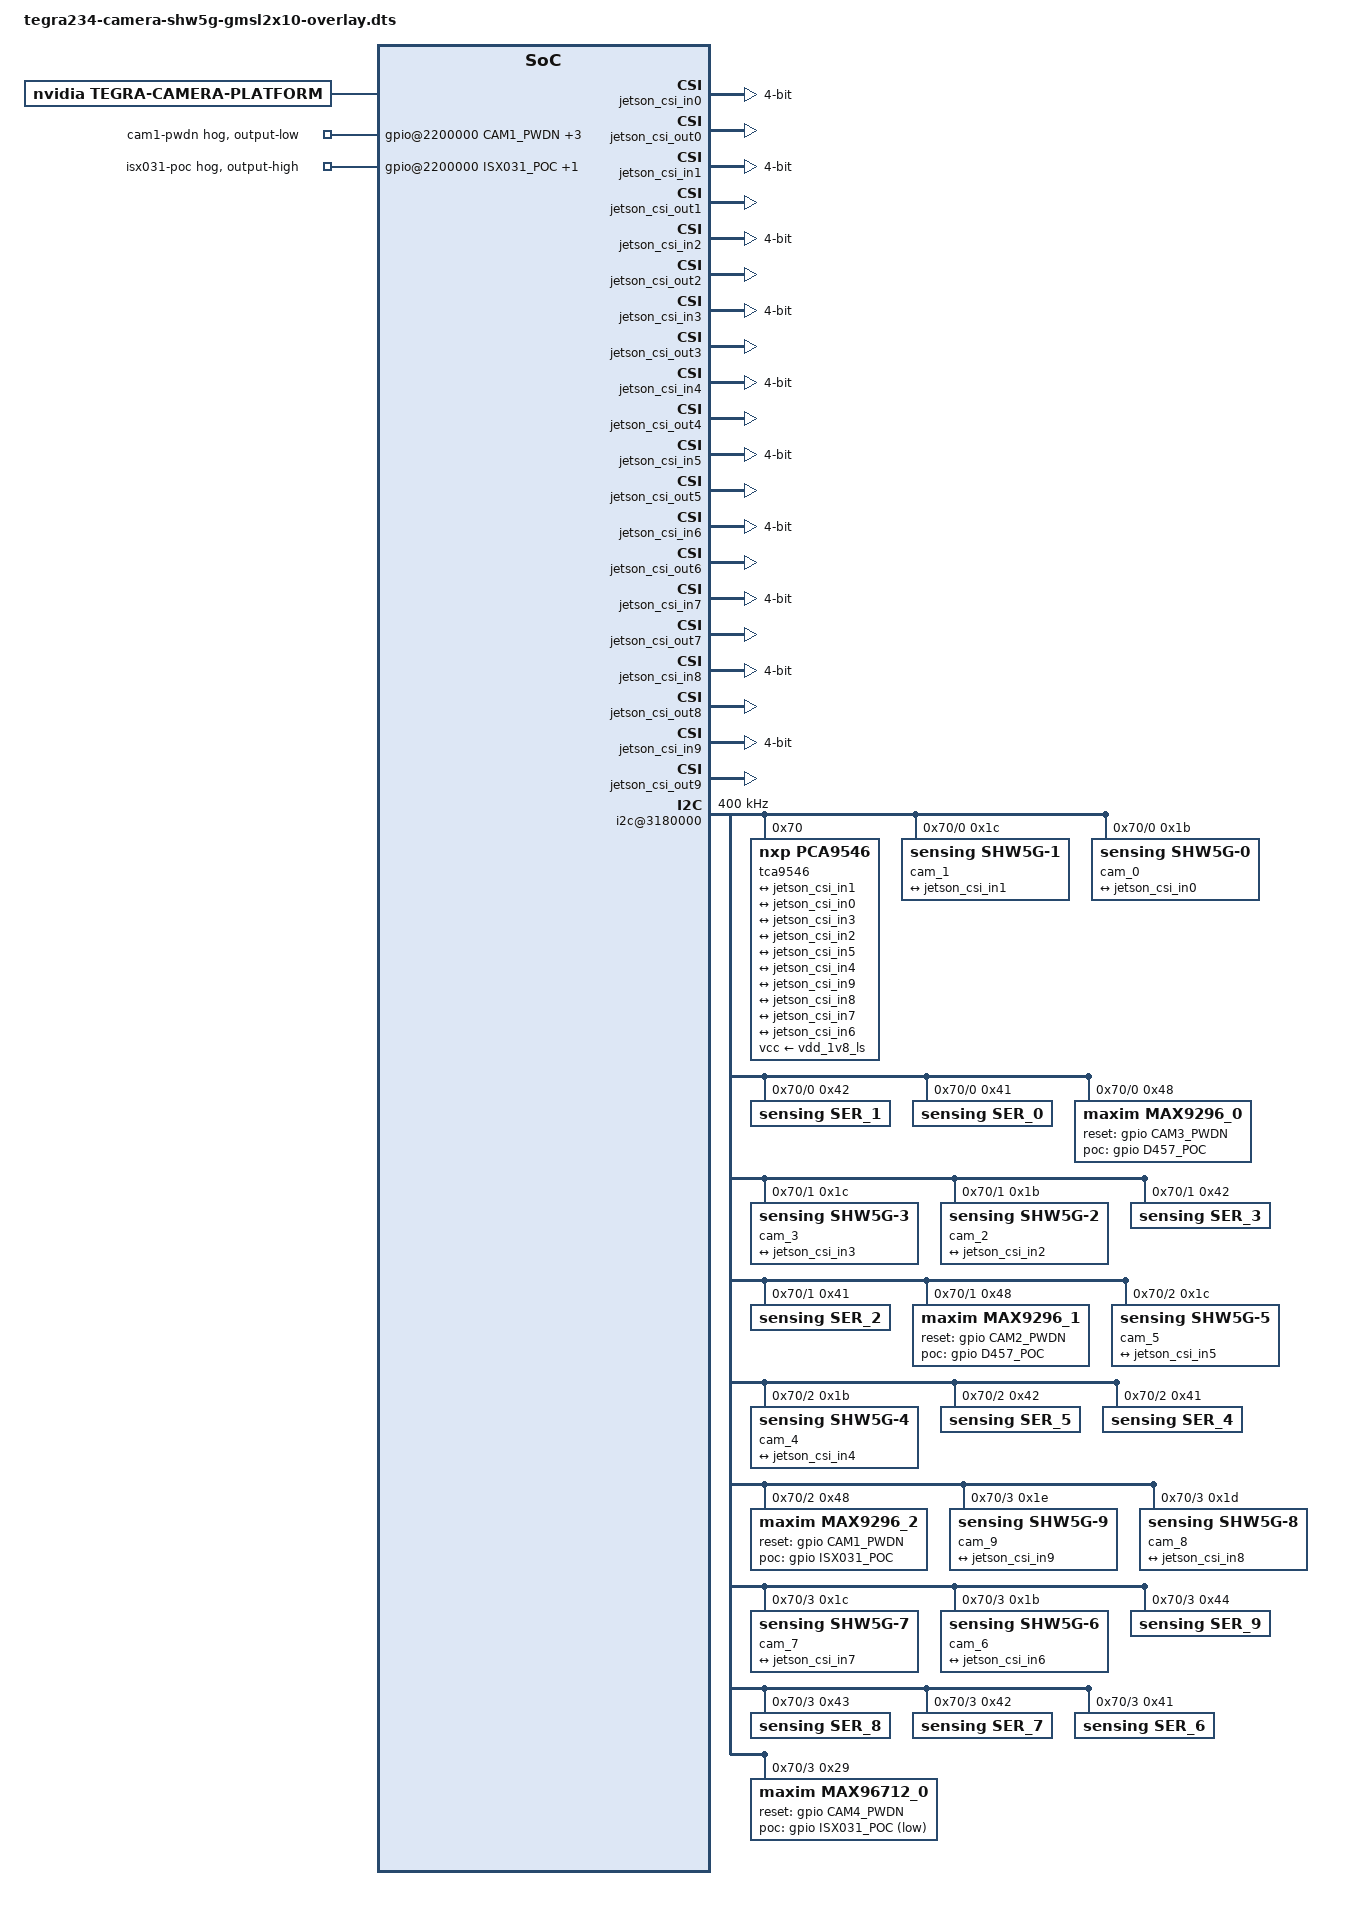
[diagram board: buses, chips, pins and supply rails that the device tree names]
// SPDX-License-Identifier: GPL-2.0-only
// SPDX-FileCopyrightText: Copyright (c) 2024-2024, ORBBEC CORPORATION.  All rights reserved.

/dts-v1/;
/plugin/;

#include <dt-bindings/clock/tegra234-clock.h>
#include <dt-bindings/gpio/tegra234-gpio.h>
#include <dt-bindings/tegra234-p3737-0000+p3701-0000.h>
#include <dt-bindings/pinctrl/pinctrl-tegra.h>

#define CAM1_PWDN	TEGRA234_MAIN_GPIO(H, 6)
#define CAM2_PWDN	TEGRA234_MAIN_GPIO(H, 3)
#define CAM3_PWDN	TEGRA234_MAIN_GPIO(AC, 0)
#define CAM4_PWDN	TEGRA234_MAIN_GPIO(AC, 1)

#define ISX031_POC	TEGRA234_MAIN_GPIO(AC, 4)
#define D457_POC	TEGRA234_MAIN_GPIO(AC, 7)

// #define SYNC_OUT   TEGRA234_MAIN_GPIO(AC, 7)//(AC, 7)
// #define SYNC_IN    TEGRA234_AON_GPIO(BB, 0) //(BB, 0)

#define PPS_TRIGGER  TEGRA234_AON_GPIO(BB, 2)//(BB, 2)

#define CAMERA_I2C_MUX_BUS(x) (0x1E + x)

/* camera control gpio definitions */
/ {
	overlay-name = "Jetson Sensing Camera SHW5G GMSL2x10";
    jetson-header-name = "Jetson AGX CSI Connector";
    compatible = JETSON_COMPATIBLE;
	
	fragment@0 {
		target-path = "/";
		__overlay__ {
			tegra-capture-vi {
				num-channels = <10>;
				ports {
					status = "okay";
					#address-cells = <1>;
					#size-cells = <0>;
					port@0 {
						reg = <0>;
						status = "okay";
						jetson_vi_in0: endpoint {
							status = "okay";
							vc-id = <0>;
							port-index = <4>; //0
							bus-width = <4>;
							remote-endpoint = <&jetson_csi_out0>;
						};
					};
					port@1 {
						reg = <1>;
						status = "okay";
						jetson_vi_in1: endpoint {
							status = "okay";
							vc-id = <1>;
							port-index = <4>; //0
							bus-width = <4>;
							remote-endpoint = <&jetson_csi_out1>;
						};
					};
					port@2 {
						reg = <2>;
						status = "okay";
						jetson_vi_in2: endpoint {
							status = "okay";
							vc-id = <0>;
							port-index = <2>; //0
							bus-width = <4>;
							remote-endpoint = <&jetson_csi_out2>;
						};
					};
					port@3 {
						reg = <3>;
						status = "okay";
						jetson_vi_in3: endpoint {
							status = "okay";
							vc-id = <1>;
							port-index = <2>; //0
							bus-width = <4>;
							remote-endpoint = <&jetson_csi_out3>;
						};
					};

					port@4 {
						reg = <4>;
						status = "okay";
						jetson_vi_in4: endpoint {
							status = "okay";
							vc-id = <0>;
							port-index = <0>; //1
							bus-width = <4>;
							remote-endpoint = <&jetson_csi_out4>;
						};
					};
					port@5 {
						reg = <5>;
						status = "okay";
						jetson_vi_in5: endpoint {
							status = "okay";
							vc-id = <1>;
							port-index = <0>; //1
							bus-width = <4>;
							remote-endpoint = <&jetson_csi_out5>;
						};
					};
					port@6 {
						reg = <6>;
						status = "okay";
						jetson_vi_in6: endpoint {
							status = "okay";
							vc-id = <0>;
							port-index = <5>; //1
							bus-width = <4>;
							remote-endpoint = <&jetson_csi_out6>;
						};
					};
					port@7 {
						reg = <7>;
						status = "okay";
						jetson_vi_in7: endpoint {
							status = "okay";
							vc-id = <1>;
							port-index = <5>; //1
							bus-width = <4>;
							remote-endpoint = <&jetson_csi_out7>;
						};
					};

					port@8 {
						reg = <8>;
						status = "okay";
						jetson_vi_in8: endpoint {
							status = "okay";
							vc-id = <2>;
							port-index = <5>; //2
							bus-width = <4>;
							remote-endpoint = <&jetson_csi_out8>;
						};
					};
					port@9 {
						reg = <9>;
						status = "okay";
						jetson_vi_in9: endpoint {
							status = "okay";
							vc-id = <3>;
							port-index = <5>; //2
							bus-width = <4>;
							remote-endpoint = <&jetson_csi_out9>;
						};
					};
				};
			};
			tegra-camera-platform {
				compatible = "nvidia, tegra-camera-platform";

				num_csi_lanes = <16>;
				max_lane_speed = <4000000>;
				min_bits_per_pixel = <10>;
				vi_peak_byte_per_pixel = <2>;
				vi_bw_margin_pct = <25>;
				isp_peak_byte_per_pixel = <5>;
				isp_bw_margin_pct = <25>;

				modules {
					status = "okay";
					module0 {
						status = "okay";
						badge = "cam0_bottomleft";
						position = "bottomleft";
						orientation = "1";
						drivernode0 {
							status = "okay";
							pcl_id = "v4l2_sensor";
							sysfs-device-tree = "/sys/firmware/devicetree/base/bus@0/i2c@3180000/tca9546@70/i2c@0/cam_0@1b";
						};
					};
					module1 {
						status = "okay";
						badge = "cam1_bottomright";
						position = "bottomright";
						orientation = "1";
						drivernode0 {
							status = "okay";
							pcl_id = "v4l2_sensor";
							sysfs-device-tree = "/sys/firmware/devicetree/base/bus@0/i2c@3180000/tca9546@70/i2c@0/cam_1@1c";
						};
					};
					module2 {
						status = "okay";
						badge = "cam2_centerleft";
						position = "centerleft";
						orientation = "1";
						drivernode0 {
							status = "okay";
							pcl_id = "v4l2_sensor";
							sysfs-device-tree = "/sys/firmware/devicetree/base/bus@0/i2c@3180000/tca9546@70/i2c@1/cam_2@1b";
						};
					};
					module3 {
						status = "okay";
						badge = "cam3_centerright";
						position = "centerright";
						orientation = "1";
						drivernode0 {
							status = "okay";
							pcl_id = "v4l2_sensor";
							sysfs-device-tree = "/sys/firmware/devicetree/base/bus@0/i2c@3180000/tca9546@70/i2c@1/cam_3@1c";
						};
					};
					module4 {
						status = "okay";
						badge = "cam4_topleft";
						position = "topleft";
						orientation = "1";
						drivernode0 {
							status = "okay";
							pcl_id = "v4l2_sensor";
							sysfs-device-tree = "/sys/firmware/devicetree/base/bus@0/i2c@3180000/tca9546@70/i2c@2/cam_4@1b";
						};
					};
					module5 {
						status = "okay";
						badge = "cam5_topright";
						position = "topright";
						orientation = "1";
						drivernode0 {
							status = "okay";
							pcl_id = "v4l2_sensor";
							sysfs-device-tree = "/sys/firmware/devicetree/base/bus@0/i2c@3180000/tca9546@70/i2c@2/cam_5@1c";
						};
					};
					module6 {
						status = "okay";
						badge = "cam6_front";
						position = "front";
						orientation = "1";
						drivernode0 {
							status = "okay";
							pcl_id = "v4l2_sensor";
							sysfs-device-tree = "/sys/firmware/devicetree/base/bus@0/i2c@3180000/tca9546@70/i2c@3/cam_6@1b";
						};
					};
					module7 {
						status = "okay";
						badge = "cam7_rear";
						position = "rear";
						orientation = "1";
						drivernode0 {
							status = "okay";
							pcl_id = "v4l2_sensor";
							sysfs-device-tree = "/sys/firmware/devicetree/base/bus@0/i2c@3180000/tca9546@70/i2c@3/cam_7@1c";
						};
					};
					module8 {
						status = "okay";
						badge = "cam8_front";
						position = "front";
						orientation = "1";
						drivernode0 {
							status = "okay";
							pcl_id = "v4l2_sensor";
							sysfs-device-tree = "/sys/firmware/devicetree/base/bus@0/i2c@3180000/tca9546@70/i2c@3/cam_8@1d";
						};
					};
					module9 {
						status = "okay";
						badge = "cam9_rear";
						position = "rear";
						orientation = "1";
						drivernode0 {
							status = "okay";
							pcl_id = "v4l2_sensor";
							sysfs-device-tree = "/sys/firmware/devicetree/base/bus@0/i2c@3180000/tca9546@70/i2c@3/cam_9@1e";
						};
					};
				};
			};

			bus@0 {
				host1x@13e00000 {
					nvcsi@15a00000 {
						#address-cells = <1>;
						#size-cells = <0>;

						num-channels = <10>;

						channel@0 {
							reg = <0>;
							status = "okay";
							ports {
								status = "okay";
								#address-cells = <1>;
								#size-cells = <0>;
								port@0 {
									reg = <0>;
									status = "okay";
									jetson_csi_in0: endpoint@0 {
										status = "okay";
										port-index = <4>; //0
										bus-width = <4>;
										remote-endpoint = <&cam_csi_out0>;
									};
								};
								port@1 {
									reg = <1>;
									status = "okay";
									jetson_csi_out0: endpoint@1 {
										status = "okay";
										remote-endpoint = <&jetson_vi_in0>;
									};
								};
							};
						};
						channel@1 {
							reg = <1>;
							status = "okay";
							ports {
								status = "okay";
								#address-cells = <1>;
								#size-cells = <0>;
								port@0 {
									reg = <0>;
									status = "okay";
									jetson_csi_in1: endpoint@2 {
										status = "okay";
										port-index = <4>; //0
										bus-width = <4>;
										remote-endpoint = <&cam_csi_out1>;
									};
								};
								port@1 {
									reg = <1>;
									status = "okay";
									jetson_csi_out1: endpoint@3 {
										status = "okay";
										remote-endpoint = <&jetson_vi_in1>;
									};
								};
							};
						};
						channel@2 {
							reg = <2>;
							status = "okay";
							ports {
								status = "okay";
								#address-cells = <1>;
								#size-cells = <0>;
								port@0 {
									reg = <0>;
									status = "okay";
									jetson_csi_in2: endpoint@4 {
										status = "okay";
										port-index = <2>; //0
										bus-width = <4>;
										remote-endpoint = <&cam_csi_out2>;
									};
								};
								port@1 {
									reg = <1>;
									status = "okay";
									jetson_csi_out2: endpoint@5 {
										status = "okay";
										remote-endpoint = <&jetson_vi_in2>;
									};
								};
							};
						};
						channel@3 {
							reg = <3>;
							status = "okay";
							ports {
								status = "okay";
								#address-cells = <1>;
								#size-cells = <0>;
								port@0 {
									reg = <0>;
									status = "okay";
									jetson_csi_in3: endpoint@6 {
										status = "okay";
										port-index = <2>; //0
										bus-width = <4>;
										remote-endpoint = <&cam_csi_out3>;
									};
								};
								port@1 {
									reg = <1>;
									status = "okay";
									jetson_csi_out3: endpoint@7 {
										status = "okay";
										remote-endpoint = <&jetson_vi_in3>;
									};
								};
							};
						};

						channel@4 {
							reg = <4>;
							status = "okay";
							ports {
								status = "okay";
								#address-cells = <1>;
								#size-cells = <0>;
								port@0 {
									reg = <0>;
									status = "okay";
									jetson_csi_in4: endpoint@8 {
										status = "okay";
										port-index = <0>; //1
										bus-width = <4>;
										remote-endpoint = <&cam_csi_out4>;
									};
								};
								port@1 {
									reg = <1>;
									status = "okay";
									jetson_csi_out4: endpoint@9 {
										status = "okay";
										remote-endpoint = <&jetson_vi_in4>;
									};
								};
							};
						};
						channel@5 {
							reg = <5>;
							status = "okay";
							ports {
								status = "okay";
								#address-cells = <1>;
								#size-cells = <0>;
								port@0 {
									reg = <0>;
									status = "okay";
									jetson_csi_in5: endpoint@10 {
										status = "okay";
										port-index = <0>; //1
										bus-width = <4>;
										remote-endpoint = <&cam_csi_out5>;
									};
								};
								port@1 {
									reg = <1>;
									status = "okay";
									jetson_csi_out5: endpoint@11 {
										status = "okay";
										remote-endpoint = <&jetson_vi_in5>;
									};
								};
							};
						};
						channel@6 {
							reg = <6>;
							status = "okay";
							ports {
								status = "okay";
								#address-cells = <1>;
								#size-cells = <0>;
								port@0 {
									reg = <0>;
									status = "okay";
									jetson_csi_in6: endpoint@12 {
										status = "okay";
										port-index = <6>; //1
										bus-width = <4>;
										remote-endpoint = <&cam_csi_out6>;
									};
								};
								port@1 {
									reg = <1>;
									status = "okay";
									jetson_csi_out6: endpoint@13 {
										status = "okay";
										remote-endpoint = <&jetson_vi_in6>;
									};
								};
							};
						};
						channel@7 {
							reg = <7>;
							status = "okay";
							ports {
								status = "okay";
								#address-cells = <1>;
								#size-cells = <0>;
								port@0 {
									reg = <0>;
									status = "okay";
									jetson_csi_in7: endpoint@14 {
										status = "okay";
										port-index = <6>; //1
										bus-width = <4>;
										remote-endpoint = <&cam_csi_out7>;
									};
								};
								port@1 {
									reg = <1>;
									status = "okay";
									jetson_csi_out7: endpoint@15 {
										status = "okay";
										remote-endpoint = <&jetson_vi_in7>;
									};
								};
							};
						};

						channel@8 {
							reg = <8>;
							status = "okay";
							ports {
								status = "okay";
								#address-cells = <1>;
								#size-cells = <0>;
								port@0 {
									reg = <0>;
									status = "okay";
									jetson_csi_in8: endpoint@16 {
										status = "okay";
										port-index = <6>; //2
										bus-width = <4>;
										remote-endpoint = <&cam_csi_out8>;
									};
								};
								port@1 {
									reg = <1>;
									status = "okay";
									jetson_csi_out8: endpoint@17 {
										status = "okay";
										remote-endpoint = <&jetson_vi_in8>;
									};
								};
							};
						};
						channel@9 {
							reg = <9>;
							status = "okay";
							ports {
								status = "okay";
								#address-cells = <1>;
								#size-cells = <0>;
								port@0 {
									reg = <0>;
									status = "okay";
									jetson_csi_in9: endpoint@18 {
										status = "okay";
										port-index = <6>; //2
										bus-width = <4>;
										remote-endpoint = <&cam_csi_out9>;
									};
								};
								port@1 {
									reg = <1>;
									status = "okay";
									jetson_csi_out9: endpoint@19 {
										status = "okay";
										remote-endpoint = <&jetson_vi_in9>;
									};
								};
							};
						};
					};
				};

				gpio@2200000 {                    
					camera-control-output-low {
						gpio-hog;
						output-low;
						gpios = <CAM1_PWDN 0 CAM2_PWDN 0
						    CAM3_PWDN 0 CAM4_PWDN 0>;
						label = "cam1-pwdn", "cam2-pwdn",
						    "cam3-pwdn", "cam4-pwdn";
					};
				    

					cam-poc-high {
						gpio-hog;
						output-high;
						gpios = <ISX031_POC 0 D457_POC 0>;
						label = "isx031-poc", "d457-poc";
					};
				};

				i2c@3180000 {
					status = "okay";
					clock-frequency = <400000>;
					tca9546@70 {
						status = "okay";
						reg = <0x70>;
						compatible = "nxp,pca9546";
						#address-cells = <1>;
						#size-cells = <0>;
						skip_mux_detect = "yes";
						vcc-supply = <&vdd_1v8_ls>;
						/*vcc-pullup-supply = <&battery_reg>;*/
						force_bus_start = <CAMERA_I2C_MUX_BUS(0)>;
						vcc_lp = "vcc";

						i2c@0 {
							status = "okay";
							reg = <0>; // line 4 of the I2C switch
							i2c-mux,deselect-on-exit;
							#address-cells = <1>;
							#size-cells = <0>;

							cam_1@1c {
								compatible = "sensing,shw5g-1";
								def-addr = <0x10>;
								reg = <0x1c>;
								devnode = "video1";

								clocks = <&bpmp TEGRA234_CLK_EXTPERIPH1>,
										<&bpmp TEGRA234_CLK_EXTPERIPH1>;
								clock-names = "extperiph1", "pllp_grtba";
								mclk = "extperiph1";
								der_id = <0>;//

								/* Physical dimensions of sensor */
								physical_w = "15.0";
								physical_h = "12.5";

								sensor_model ="shw5g";
								//sync_sensor = "HAWK1";
								// sync_sensor_index = <1>;

								/* Defines number of frames to be dropped by driver internally after applying */
								/* sensor crop settings. Some sensors send corrupt frames after applying */
								/* crop co-ordinates */
								post_crop_frame_drop = "0";

								/* Convert Gain to unit of dB (decibel) befor passing to kernel driver */
								use_decibel_gain = "false";

								/* enable CID_SENSOR_MODE_ID for sensor modes selection */
								use_sensor_mode_id = "true";

								mode0 {/*mode 2560x1984@30fps*/
									mclk_khz = "24000";
									num_lanes = "4";
									tegra_sinterface = "serial_e";
									phy_mode = "DPHY";
									vc_id = "1";
									discontinuous_clk = "no";
									dpcm_enable = "false";
									cil_settletime = "0";
									lane_polarity = "0";
									dynamic_pixel_bit_depth = "10";
									csi_pixel_bit_depth = "10";
									mode_type = "bayer";
									pixel_phase = "gbrg";

									active_w = "2560";
									active_h = "1984";
									readout_orientation = "0";
									line_length = "2800";
									inherent_gain = "1";
									//mclk_multiplier = "3.01";
									pix_clk_hz = "200000000";
									serdes_pix_clk_hz = "560000000";

									gain_factor = "100";
									min_gain_val = "100"; /* dB */
									max_gain_val = "400"; /* dB */
									step_gain_val = "1"; /* 0.1 */
									default_gain = "100";
									min_hdr_ratio = "1";
									max_hdr_ratio = "1";
									framerate_factor = "1000000";
									min_framerate = "30000000";
									max_framerate = "30000000";
									step_framerate = "1";
									default_framerate = "30000000";
									exposure_factor = "1000000";
									min_exp_time = "40"; /*us, 2 lines*/
									max_exp_time = "30000";
									step_exp_time = "1";
									default_exp_time = "30000";/* us */
									embedded_metadata_height = "0";
								};
								ports {
									#address-cells = <1>;
									#size-cells = <0>;
									port@0 {
										reg = <0>;
										cam_csi_out1: endpoint {
											vc-id = <1>;
											port-index = <4>;
											bus-width = <4>;
											remote-endpoint = <&jetson_csi_in1>;
										};
									};
								};
							};

							cam_0@1b {
								compatible = "sensing,shw5g-0";
								def-addr = <0x10>;
								reg = <0x1b>;
								devnode = "video0";

								clocks = <&bpmp TEGRA234_CLK_EXTPERIPH1>,
										<&bpmp TEGRA234_CLK_EXTPERIPH1>;
								clock-names = "extperiph1", "pllp_grtba";
								mclk = "extperiph1";
								der_id = <0>;//

								/* Physical dimensions of sensor */
								physical_w = "15.0";
								physical_h = "12.5";

								sensor_model ="shw5g";
								//sync_sensor = "HAWK1";
								//sync_sensor_index = <1>;

								/* Defines number of frames to be dropped by driver internally after applying */
								/* sensor crop settings. Some sensors send corrupt frames after applying */
								/* crop co-ordinates */
								post_crop_frame_drop = "0";

								/* Convert Gain to unit of dB (decibel) befor passing to kernel driver */
								use_decibel_gain = "false";

								/* enable CID_SENSOR_MODE_ID for sensor modes selection */
								use_sensor_mode_id = "true";

								mode0 {/*mode 2560x1984@30fps*/
									mclk_khz = "24000";
									num_lanes = "4";
									tegra_sinterface = "serial_e";
									phy_mode = "DPHY";
									vc_id = "0";
									discontinuous_clk = "no";
									dpcm_enable = "false";
									cil_settletime = "0";
									lane_polarity = "0";
									dynamic_pixel_bit_depth = "10";
									csi_pixel_bit_depth = "10";
									mode_type = "bayer";
									pixel_phase = "gbrg";

									active_w = "2560";
									active_h = "1984";
									readout_orientation = "0";
									line_length = "2800";
									inherent_gain = "1";
									pix_clk_hz = "240000000";
									serdes_pix_clk_hz = "560000000";

									gain_factor = "100";
									min_gain_val = "100"; /* dB */
									max_gain_val = "400"; /* dB */
									step_gain_val = "1"; /* 0.1 */
									default_gain = "100";
									min_hdr_ratio = "1";
									max_hdr_ratio = "1";
									framerate_factor = "1000000";
									min_framerate = "30000000";
									max_framerate = "30000000";
									step_framerate = "1";
									default_framerate = "30000000";
									exposure_factor = "1000000";
									min_exp_time = "40"; 		/* 4 * 8.992μs = 35.968 μs */
									max_exp_time = "30000";
									step_exp_time = "1";
									default_exp_time = "30000";	/* μs */
									embedded_metadata_height = "0";
								};
								ports {
									#address-cells = <1>;
									#size-cells = <0>;
									port@0 {
										reg = <0>;
										cam_csi_out0: endpoint {
											vc-id = <0>;
											port-index = <4>;
											bus-width = <4>;
											remote-endpoint = <&jetson_csi_in0>;
										};
									};
								};
							};

							ser_1@42 {
								compatible = "sensing,ser_1";
								reg = <0x42>;
								def_addr = <0x40>;
							};

							ser_0@41 {
								compatible = "sensing,ser_0";
								reg = <0x41>;
								def_addr = <0x40>;
							};

							max9296_0@48 {
								compatible = "maxim,max9296_0";
								reset-gpios = <&gpio CAM3_PWDN GPIO_ACTIVE_HIGH>;
								poc-gpios = <&gpio D457_POC GPIO_ACTIVE_HIGH>;
								reg = <0x48>;
							};
						};

						i2c@1 {
							status = "okay";
							reg = <1>; // line 4 of the I2C switch
							i2c-mux,deselect-on-exit;
							#address-cells = <1>;
							#size-cells = <0>;

							cam_3@1c {
								compatible = "sensing,shw5g-3";
								def-addr = <0x10>;
								reg = <0x1c>;
								devnode = "video3";

								clocks = <&bpmp TEGRA234_CLK_EXTPERIPH1>,
										<&bpmp TEGRA234_CLK_EXTPERIPH1>;
								clock-names = "extperiph1", "pllp_grtba";
								mclk = "extperiph1";
								der_id = <1>;//

								/* Physical dimensions of sensor */
								physical_w = "15.0";
								physical_h = "12.5";

								sensor_model ="shw5g";
								//sync_sensor = "HAWK1";
								// sync_sensor_index = <1>;

								/* Defines number of frames to be dropped by driver internally after applying */
								/* sensor crop settings. Some sensors send corrupt frames after applying */
								/* crop co-ordinates */
								post_crop_frame_drop = "0";

								/* Convert Gain to unit of dB (decibel) befor passing to kernel driver */
								use_decibel_gain = "false";

								/* enable CID_SENSOR_MODE_ID for sensor modes selection */
								use_sensor_mode_id = "true";

								mode0 {/*mode 2560x1984@30fps*/
									mclk_khz = "24000";
									num_lanes = "4";
									tegra_sinterface = "serial_c";
									phy_mode = "DPHY";
									vc_id = "1";
									discontinuous_clk = "no";
									dpcm_enable = "false";
									cil_settletime = "0";
									lane_polarity = "0";
									dynamic_pixel_bit_depth = "10";
									csi_pixel_bit_depth = "10";
									mode_type = "bayer";
									pixel_phase = "gbrg";

									active_w = "2560";
									active_h = "1984";
									readout_orientation = "0";
									line_length = "2800";
									inherent_gain = "1";
									//mclk_multiplier = "3.01";
									pix_clk_hz = "200000000";
									serdes_pix_clk_hz = "560000000";

									gain_factor = "100";
									min_gain_val = "100"; /* dB */
									max_gain_val = "400"; /* dB */
									step_gain_val = "1"; /* 0.1 */
									default_gain = "100";
									min_hdr_ratio = "1";
									max_hdr_ratio = "1";
									framerate_factor = "1000000";
									min_framerate = "30000000";
									max_framerate = "30000000";
									step_framerate = "1";
									default_framerate = "30000000";
									exposure_factor = "1000000";
									min_exp_time = "40"; 		/* 4 * 8.992μs = 35.968 μs */
									max_exp_time = "30000";
									step_exp_time = "1";
									default_exp_time = "30000";	/* μs */
									embedded_metadata_height = "0";
								};							
								ports {
									#address-cells = <1>;
									#size-cells = <0>;
									port@0 {
										reg = <0>;
										cam_csi_out3: endpoint {
											vc-id = <1>;
											port-index = <2>;
											bus-width = <4>;
											remote-endpoint = <&jetson_csi_in3>;
										};
									};
								};
							};

							cam_2@1b {
								compatible = "sensing,shw5g-2";
								def-addr = <0x10>;
								reg = <0x1b>;
								devnode = "video2";

								clocks = <&bpmp TEGRA234_CLK_EXTPERIPH1>,
										<&bpmp TEGRA234_CLK_EXTPERIPH1>;
								clock-names = "extperiph1", "pllp_grtba";
								mclk = "extperiph1";
								der_id = <1>;//

								/* Physical dimensions of sensor */
								physical_w = "15.0";
								physical_h = "12.5";

								sensor_model ="shw5g";
								//sync_sensor = "HAWK1";
								//sync_sensor_index = <1>;

								/* Defines number of frames to be dropped by driver internally after applying */
								/* sensor crop settings. Some sensors send corrupt frames after applying */
								/* crop co-ordinates */
								post_crop_frame_drop = "0";

								/* Convert Gain to unit of dB (decibel) befor passing to kernel driver */
								use_decibel_gain = "false";

								/* enable CID_SENSOR_MODE_ID for sensor modes selection */
								use_sensor_mode_id = "true";

								mode0 {/*mode 2560x1984@30fps*/
									mclk_khz = "24000";
									num_lanes = "4";
									tegra_sinterface = "serial_c";
									phy_mode = "DPHY";
									vc_id = "0";
									discontinuous_clk = "no";
									dpcm_enable = "false";
									cil_settletime = "0";
									lane_polarity = "0";
									dynamic_pixel_bit_depth = "10";
									csi_pixel_bit_depth = "10";
									mode_type = "bayer";
									pixel_phase = "gbrg";

									active_w = "2560";
									active_h = "1984";
									readout_orientation = "0";
									line_length = "2800";
									inherent_gain = "1";
									pix_clk_hz = "240000000";
									serdes_pix_clk_hz = "560000000";

									gain_factor = "100";
									min_gain_val = "100"; /* dB */
									max_gain_val = "400"; /* dB */
									step_gain_val = "1"; /* 0.1 */
									default_gain = "100";
									min_hdr_ratio = "1";
									max_hdr_ratio = "1";
									framerate_factor = "1000000";
									min_framerate = "30000000";
									max_framerate = "30000000";
									step_framerate = "1";
									default_framerate = "30000000";
									exposure_factor = "1000000";
									min_exp_time = "40"; 		/* 4 * 8.992μs = 35.968 μs */
									max_exp_time = "30000";
									step_exp_time = "1";
									default_exp_time = "30000";	/* μs */
									embedded_metadata_height = "0";
								};
								ports {
									#address-cells = <1>;
									#size-cells = <0>;
									port@0 {
										reg = <0>;
										cam_csi_out2: endpoint {
											vc-id = <0>;
											port-index = <2>;
											bus-width = <4>;
											remote-endpoint = <&jetson_csi_in2>;
										};
									};
								};
							};

							ser_3@42 {
								compatible = "sensing,ser_3";
								reg = <0x42>;
								def_addr = <0x40>;
							};

							ser_2@41 {
								compatible = "sensing,ser_2";
								reg = <0x41>;
								def_addr = <0x40>;
							};

							max9296_1@48 {
								compatible = "maxim,max9296_1";
								reset-gpios = <&gpio CAM2_PWDN GPIO_ACTIVE_HIGH>;
								poc-gpios = <&gpio D457_POC GPIO_ACTIVE_HIGH>;
								reg = <0x48>;
							};
							
						};

						i2c@2 {
                            status = "okay";
							reg = <2>; // line 4 of the I2C switch
							i2c-mux,deselect-on-exit;
							#address-cells = <1>;
							#size-cells = <0>;

			            	cam_5@1c {
								compatible = "sensing,shw5g-5";
								def-addr = <0x10>;
								reg = <0x1c>;
								devnode = "video5";

								clocks = <&bpmp TEGRA234_CLK_EXTPERIPH1>,
										<&bpmp TEGRA234_CLK_EXTPERIPH1>;
								clock-names = "extperiph1", "pllp_grtba";
								mclk = "extperiph1";
								der_id = <2>;//

								/* Physical dimensions of sensor */
								physical_w = "15.0";
								physical_h = "12.5";

								sensor_model ="shw5g";
								//sync_sensor = "HAWK1";
								// sync_sensor_index = <1>;

								/* Defines number of frames to be dropped by driver internally after applying */
								/* sensor crop settings. Some sensors send corrupt frames after applying */
								/* crop co-ordinates */
								post_crop_frame_drop = "0";

								/* Convert Gain to unit of dB (decibel) befor passing to kernel driver */
								use_decibel_gain = "false";

								/* enable CID_SENSOR_MODE_ID for sensor modes selection */
								use_sensor_mode_id = "true";

								mode0 {/*mode 2560x1984@30fps*/
									mclk_khz = "24000";
									num_lanes = "4";
									tegra_sinterface = "serial_a";
									phy_mode = "DPHY";
									vc_id = "1";
									discontinuous_clk = "no";
									dpcm_enable = "false";
									cil_settletime = "0";
									lane_polarity = "0";
									dynamic_pixel_bit_depth = "10";
									csi_pixel_bit_depth = "10";
									mode_type = "bayer";
									pixel_phase = "gbrg";

									active_w = "2560";
									active_h = "1984";
									readout_orientation = "0";
									line_length = "2800";
									inherent_gain = "1";
									//mclk_multiplier = "3.01";
									pix_clk_hz = "200000000";
									serdes_pix_clk_hz = "560000000";

									gain_factor = "100";
									min_gain_val = "100"; /* dB */
									max_gain_val = "400"; /* dB */
									step_gain_val = "1"; /* 0.1 */
									default_gain = "100";
									min_hdr_ratio = "1";
									max_hdr_ratio = "1";
									framerate_factor = "1000000";
									min_framerate = "30000000";
									max_framerate = "30000000";
									step_framerate = "1";
									default_framerate = "30000000";
									exposure_factor = "1000000";
									min_exp_time = "40"; 		/* 4 * 8.992μs = 35.968 μs */
									max_exp_time = "30000";
									step_exp_time = "1";
									default_exp_time = "30000";	/* μs */
									embedded_metadata_height = "0";
								};
								ports {
									#address-cells = <1>;
									#size-cells = <0>;
									port@0 {
										reg = <0>;
										cam_csi_out5: endpoint {
											vc-id = <1>;
											port-index = <0>;
											bus-width = <4>;
											remote-endpoint = <&jetson_csi_in5>;
										};
									};
								};
							};

							cam_4@1b {
								compatible = "sensing,shw5g-4";
								def-addr = <0x10>;
								reg = <0x1b>;
								devnode = "video4";

								clocks = <&bpmp TEGRA234_CLK_EXTPERIPH1>,
										<&bpmp TEGRA234_CLK_EXTPERIPH1>;
								clock-names = "extperiph1", "pllp_grtba";
								mclk = "extperiph1";
								der_id = <2>;//

								/* Physical dimensions of sensor */
								physical_w = "15.0";
								physical_h = "12.5";

								sensor_model ="shw5g";
								//sync_sensor = "HAWK1";
								//sync_sensor_index = <1>;

								/* Defines number of frames to be dropped by driver internally after applying */
								/* sensor crop settings. Some sensors send corrupt frames after applying */
								/* crop co-ordinates */
								post_crop_frame_drop = "0";

								/* Convert Gain to unit of dB (decibel) befor passing to kernel driver */
								use_decibel_gain = "false";

								/* enable CID_SENSOR_MODE_ID for sensor modes selection */
								use_sensor_mode_id = "true";

								mode0 {/*mode 2560x1984@30fps*/
									mclk_khz = "24000";
									num_lanes = "4";
									tegra_sinterface = "serial_a";
									phy_mode = "DPHY";
									vc_id = "0";
									discontinuous_clk = "no";
									dpcm_enable = "false";
									cil_settletime = "0";
									lane_polarity = "0";
									dynamic_pixel_bit_depth = "10";
									csi_pixel_bit_depth = "10";
									mode_type = "bayer";
									pixel_phase = "gbrg";

									active_w = "2560";
									active_h = "1984";
									readout_orientation = "0";
									line_length = "2800";
									inherent_gain = "1";
									pix_clk_hz = "240000000";
									serdes_pix_clk_hz = "560000000";

									gain_factor = "100";
									min_gain_val = "100"; /* dB */
									max_gain_val = "400"; /* dB */
									step_gain_val = "1"; /* 0.1 */
									default_gain = "100";
									min_hdr_ratio = "1";
									max_hdr_ratio = "1";
									framerate_factor = "1000000";
									min_framerate = "30000000";
									max_framerate = "30000000";
									step_framerate = "1";
									default_framerate = "30000000";
									exposure_factor = "1000000";
									min_exp_time = "40"; 		/* 4 * 8.992μs = 35.968 μs */
									max_exp_time = "30000";
									step_exp_time = "1";
									default_exp_time = "30000";	/* μs */
									embedded_metadata_height = "0";
								};
								ports {
									#address-cells = <1>;
									#size-cells = <0>;
									port@0 {
										reg = <0>;
										cam_csi_out4: endpoint {
											vc-id = <0>;
											port-index = <0>;
											bus-width = <4>;
											remote-endpoint = <&jetson_csi_in4>;
										};
									};
								};
							};

							ser_5@42 {
								compatible = "sensing,ser_5";
								reg = <0x42>;
								def_addr = <0x40>;
							};

							ser_4@41 {
								compatible = "sensing,ser_4";
								reg = <0x41>;
								def_addr = <0x40>;
							};

							max9296_2@48 {
								compatible = "maxim,max9296_2";
								reset-gpios = <&gpio CAM1_PWDN GPIO_ACTIVE_HIGH>;
								poc-gpios = <&gpio ISX031_POC GPIO_ACTIVE_HIGH>;
								reg = <0x48>;
							};

                        };
						
						i2c@3 {   //max96712
							status = "okay";
							reg = <3>; // line 4 of the I2C switch
							i2c-mux,deselect-on-exit;
							#address-cells = <1>;
							#size-cells = <0>;

							cam_9@1e {
								compatible = "sensing,shw5g-9";
								def-addr = <0x10>;
								reg = <0x1e>;
								devnode = "video9";

								clocks = <&bpmp TEGRA234_CLK_EXTPERIPH1>,
										<&bpmp TEGRA234_CLK_EXTPERIPH1>;
								clock-names = "extperiph1", "pllp_grtba";
								mclk = "extperiph1";
								der_id = <0>;//
								ser_id = <3>;//

								/* Physical dimensions of sensor */
								physical_w = "15.0";
								physical_h = "12.5";

								sensor_model ="shw5g";

								/* Defines number of frames to be dropped by driver internally after applying */
								/* sensor crop settings. Some sensors send corrupt frames after applying */
								/* crop co-ordinates */
								post_crop_frame_drop = "0";

								/* Convert Gain to unit of dB (decibel) befor passing to kernel driver */
								use_decibel_gain = "false";

								/* enable CID_SENSOR_MODE_ID for sensor modes selection */
								use_sensor_mode_id = "true";

								mode0 {/*mode 2560x1984@30fps*/
									mclk_khz = "24000";
									num_lanes = "4";
									tegra_sinterface = "serial_g";
									phy_mode = "DPHY";
									vc_id = "3";
									discontinuous_clk = "no";
									dpcm_enable = "false";
									cil_settletime = "0";
									lane_polarity = "0";
									dynamic_pixel_bit_depth = "10";
									csi_pixel_bit_depth = "10";
									mode_type = "bayer";
									pixel_phase = "gbrg";

									active_w = "2560";
									active_h = "1984";
									readout_orientation = "0";
									line_length = "2800";
									inherent_gain = "1";
									//mclk_multiplier = "3.01";
									pix_clk_hz = "240000000";
									serdes_pix_clk_hz = "560000000";

									gain_factor = "100";
									min_gain_val = "100"; /* dB */
									max_gain_val = "400"; /* dB */
									step_gain_val = "1"; /* 0.1 */
									default_gain = "100";
									min_hdr_ratio = "1";
									max_hdr_ratio = "1";
									framerate_factor = "1000000";
									min_framerate = "30000000";
									max_framerate = "30000000";
									step_framerate = "1";
									default_framerate = "30000000";
									exposure_factor = "1000000";
									min_exp_time = "40"; 		/* 4 * 8.992μs = 35.968 μs */
									max_exp_time = "30000";
									step_exp_time = "1";
									default_exp_time = "30000";	/* μs */
									embedded_metadata_height = "0";
								};

								ports {
									#address-cells = <1>;
									#size-cells = <0>;
									port@0 {
										reg = <0>;
										cam_csi_out9: endpoint {
											vc-id = <3>;
											port-index = <5>;
											bus-width = <4>;
											remote-endpoint = <&jetson_csi_in9>;
										};
									};
								};
							};

							cam_8@1d {
								compatible = "sensing,shw5g-8";
								def-addr = <0x10>;
								reg = <0x1d>;
								devnode = "video8";

								clocks = <&bpmp TEGRA234_CLK_EXTPERIPH1>,
										<&bpmp TEGRA234_CLK_EXTPERIPH1>;
								clock-names = "extperiph1", "pllp_grtba";
								mclk = "extperiph1";
								der_id = <0>;//
								ser_id = <2>;//

								/* Physical dimensions of sensor */
								physical_w = "15.0";
								physical_h = "12.5";

								sensor_model ="shw5g";
								//sync_sensor = "HAWK1";
								// sync_sensor_index = <1>;

								/* Defines number of frames to be dropped by driver internally after applying */
								/* sensor crop settings. Some sensors send corrupt frames after applying */
								/* crop co-ordinates */
								post_crop_frame_drop = "0";

								/* Convert Gain to unit of dB (decibel) befor passing to kernel driver */
								use_decibel_gain = "false";

								/* enable CID_SENSOR_MODE_ID for sensor modes selection */
								use_sensor_mode_id = "true";

								mode0 {/*mode 2560x1984@30fps*/
									mclk_khz = "24000";
									num_lanes = "4";
									tegra_sinterface = "serial_g";
									phy_mode = "DPHY";
									vc_id = "2";
									discontinuous_clk = "no";
									dpcm_enable = "false";
									cil_settletime = "0";
									lane_polarity = "0";
									dynamic_pixel_bit_depth = "10";
									csi_pixel_bit_depth = "10";
									mode_type = "bayer";
									pixel_phase = "gbrg";

									active_w = "2560";
									active_h = "1984";
									readout_orientation = "0";
									line_length = "2800";
									inherent_gain = "1";
									//mclk_multiplier = "3.01";
									pix_clk_hz = "240000000";
									serdes_pix_clk_hz = "560000000";

									gain_factor = "100";
									min_gain_val = "100"; /* dB */
									max_gain_val = "400"; /* dB */
									step_gain_val = "1"; /* 0.1 */
									default_gain = "100";
									min_hdr_ratio = "1";
									max_hdr_ratio = "1";
									framerate_factor = "1000000";
									min_framerate = "30000000";
									max_framerate = "30000000";
									step_framerate = "1";
									default_framerate = "30000000";
									exposure_factor = "1000000";
									min_exp_time = "40"; 		/* 4 * 8.992μs = 35.968 μs */
									max_exp_time = "30000";
									step_exp_time = "1";
									default_exp_time = "30000";	/* μs */
									embedded_metadata_height = "0";
								};
								ports {
									#address-cells = <1>;
									#size-cells = <0>;
									port@0 {
										reg = <0>;
										cam_csi_out8: endpoint {
											vc-id = <2>;
											port-index = <5>;
											bus-width = <4>;
											remote-endpoint = <&jetson_csi_in8>;
										};
									};
								};
							};

							cam_7@1c {
								compatible = "sensing,shw5g-7";
								def-addr = <0x10>;
								reg = <0x1c>;
								devnode = "video7";

								clocks = <&bpmp TEGRA234_CLK_EXTPERIPH1>,
										<&bpmp TEGRA234_CLK_EXTPERIPH1>;
								clock-names = "extperiph1", "pllp_grtba";
								mclk = "extperiph1";
								der_id = <0>;//
								ser_id = <1>;//

								/* Physical dimensions of sensor */
								physical_w = "15.0";
								physical_h = "12.5";

								sensor_model ="shw5g";

								/* Defines number of frames to be dropped by driver internally after applying */
								/* sensor crop settings. Some sensors send corrupt frames after applying */
								/* crop co-ordinates */
								post_crop_frame_drop = "0";

								/* Convert Gain to unit of dB (decibel) befor passing to kernel driver */
								use_decibel_gain = "false";

								/* enable CID_SENSOR_MODE_ID for sensor modes selection */
								use_sensor_mode_id = "true";

								mode0 {/*mode 2560x1984@30fps*/
									mclk_khz = "24000";
									num_lanes = "4";
									tegra_sinterface = "serial_g";
									phy_mode = "DPHY";
									vc_id = "1";
									discontinuous_clk = "no";
									dpcm_enable = "false";
									cil_settletime = "0";
									lane_polarity = "0";
									dynamic_pixel_bit_depth = "10";
									csi_pixel_bit_depth = "10";
									mode_type = "bayer";
									pixel_phase = "gbrg";

									active_w = "2560";
									active_h = "1984";
									readout_orientation = "0";
									line_length = "2800";
									inherent_gain = "1";
									pix_clk_hz = "240000000";
									serdes_pix_clk_hz = "560000000";

									gain_factor = "100";
									min_gain_val = "100"; /* dB */
									max_gain_val = "400"; /* dB */
									step_gain_val = "1"; /* 0.1 */
									default_gain = "100";
									min_hdr_ratio = "1";
									max_hdr_ratio = "1";
									framerate_factor = "1000000";
									min_framerate = "30000000";
									max_framerate = "30000000";
									step_framerate = "1";
									default_framerate = "30000000";
									exposure_factor = "1000000";
									min_exp_time = "40"; 		/* 4 * 8.992μs = 35.968 μs */
									max_exp_time = "30000";
									step_exp_time = "1";
									default_exp_time = "30000";	/* μs */
									embedded_metadata_height = "0";
								};
								ports {
									#address-cells = <1>;
									#size-cells = <0>;
									port@0 {
										reg = <0>;
										cam_csi_out7: endpoint {
											vc-id = <1>;
											port-index = <5>;
											bus-width = <4>;
											remote-endpoint = <&jetson_csi_in7>;
										};
									};
								};
							};

							cam_6@1b {
							 	compatible = "sensing,shw5g-6";
								def-addr = <0x10>;
								reg = <0x1b>;
								devnode = "video6";

								clocks = <&bpmp TEGRA234_CLK_EXTPERIPH1>,
										<&bpmp TEGRA234_CLK_EXTPERIPH1>;
								clock-names = "extperiph1", "pllp_grtba";
								mclk = "extperiph1";
								der_id = <0>;//
								ser_id = <0>;//

								/* Physical dimensions of sensor */
								physical_w = "15.0";
								physical_h = "12.5";

								sensor_model ="shw5g";
								//sync_sensor = "HAWK1";
								//sync_sensor_index = <1>;

								/* Defines number of frames to be dropped by driver internally after applying */
								/* sensor crop settings. Some sensors send corrupt frames after applying */
								/* crop co-ordinates */
								post_crop_frame_drop = "0";

								/* Convert Gain to unit of dB (decibel) befor passing to kernel driver */
								use_decibel_gain = "false";

								/* enable CID_SENSOR_MODE_ID for sensor modes selection */
								use_sensor_mode_id = "true";

								mode0 {/*mode 2560x1984@30fps*/
									mclk_khz = "24000";
									num_lanes = "4";
									tegra_sinterface = "serial_g";
									phy_mode = "DPHY";
									vc_id = "0";
									discontinuous_clk = "no";
									dpcm_enable = "false";
									cil_settletime = "0";
									lane_polarity = "0";
									dynamic_pixel_bit_depth = "10";
									csi_pixel_bit_depth = "10";
									mode_type = "bayer";
									pixel_phase = "gbrg";

									active_w = "2560";
									active_h = "1984";
									readout_orientation = "0";
									line_length = "2800";
									inherent_gain = "1";
									pix_clk_hz = "240000000";
									serdes_pix_clk_hz = "560000000";

									gain_factor = "100";
									min_gain_val = "100"; /* dB */
									max_gain_val = "400"; /* dB */
									step_gain_val = "1"; /* 0.1 */
									default_gain = "100";
									min_hdr_ratio = "1";
									max_hdr_ratio = "1";
									framerate_factor = "1000000";
									min_framerate = "30000000";
									max_framerate = "30000000";
									step_framerate = "1";
									default_framerate = "30000000";
									exposure_factor = "1000000";
									min_exp_time = "40"; 		/* 4 * 8.992μs = 35.968 μs */
									max_exp_time = "30000";
									step_exp_time = "1";
									default_exp_time = "30000";	/* μs */
									embedded_metadata_height = "0";
								};
								ports {
									#address-cells = <1>;
									#size-cells = <0>;
									port@0 {
										reg = <0>;
										cam_csi_out6: endpoint {
											vc-id = <0>;
											port-index = <5>;
											bus-width = <4>;
											remote-endpoint = <&jetson_csi_in6>;
										};
									};
								};
							};

							ser_9@44 {
								compatible = "sensing,ser_9";
								reg = <0x44>;
								def_addr = <0x40>;
							};
							ser_8@43 {
								compatible = "sensing,ser_8";
								reg = <0x43>;
								def_addr = <0x40>;
							};
							ser_7@42 {
								compatible = "sensing,ser_7";
								reg = <0x42>;
								def_addr = <0x40>;
							};
		
			            	ser_6@41 {
								compatible = "sensing,ser_6";
								reg = <0x41>;
								def_addr = <0x40>;
							};
							max96712_0@29 {
								compatible = "maxim,max96712_0";
								reg = <0x29>;
								reset-gpios = <&gpio CAM4_PWDN GPIO_ACTIVE_HIGH>;
								poc-gpios = <&gpio ISX031_POC GPIO_ACTIVE_LOW>;
							};
						};
					};
				};
			};
		};
	};
};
